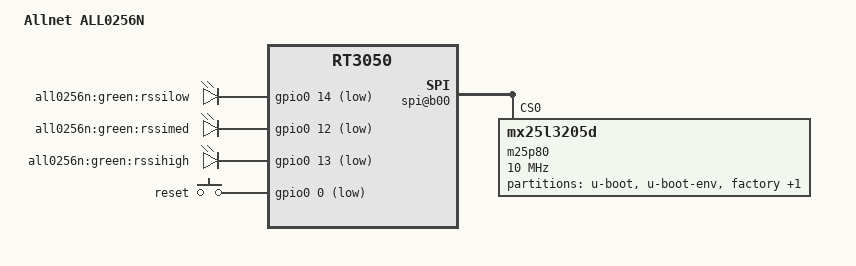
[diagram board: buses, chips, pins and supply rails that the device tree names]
/dts-v1/;

/include/ "rt3050.dtsi"

/ {
	compatible = "ALL0256N", "ralink,rt3050-soc";
	model = "Allnet ALL0256N";

	palmbus@10000000 {
		gpio0: gpio@600 {
			status = "okay";
		};

		spi@b00 {
			status = "okay";
			m25p80@0 {
				#address-cells = <1>;
				#size-cells = <1>;
				compatible = "mx25l3205d";
				reg = <0 0>;
				linux,modalias = "m25p80", "mx25l3205d";
				spi-max-frequency = <10000000>;

				partition@0 {
					label = "u-boot";
					reg = <0x0 0x30000>;
					read-only;
				};

				partition@30000 {
					label = "u-boot-env";
					reg = <0x30000 0x10000>;
					read-only;
				};

				factory: partition@40000 {
					label = "factory";
					reg = <0x40000 0x10000>;
					read-only;
				};

				partition@50000 {
					label = "firmware";
					reg = <0x50000 0x3c8000>;
				};
			};
		};
	};

	pinctrl {
		state_default: pinctrl0 {
			gpio {
				ralink,group = "i2c", "jtag", "rgmii", "mdio", "uartf";
				ralink,function = "gpio";
			};
		};
	};

	esw@10110000 {
		ralink,portmap = <0x3f>;
	};

	gpio-leds {
		compatible = "gpio-leds";
		rssilow {
			label = "all0256n:green:rssilow";
			gpios = <&gpio0 14 1>;
		};
		rssimed {
			label = "all0256n:green:rssimed";
			gpios = <&gpio0 12 1>;
		};
		rssihigh {
			label = "all0256n:green:rssihigh";
			gpios = <&gpio0 13 1>;
		};
	};

	gpio-keys-polled {
		compatible = "gpio-keys-polled";
		#address-cells = <1>;
		#size-cells = <0>;
		poll-interval = <20>;
		reset {
			label = "reset";
			gpios = <&gpio0 0 1>;
			linux,code = <0x198>;
		};
	};
};
